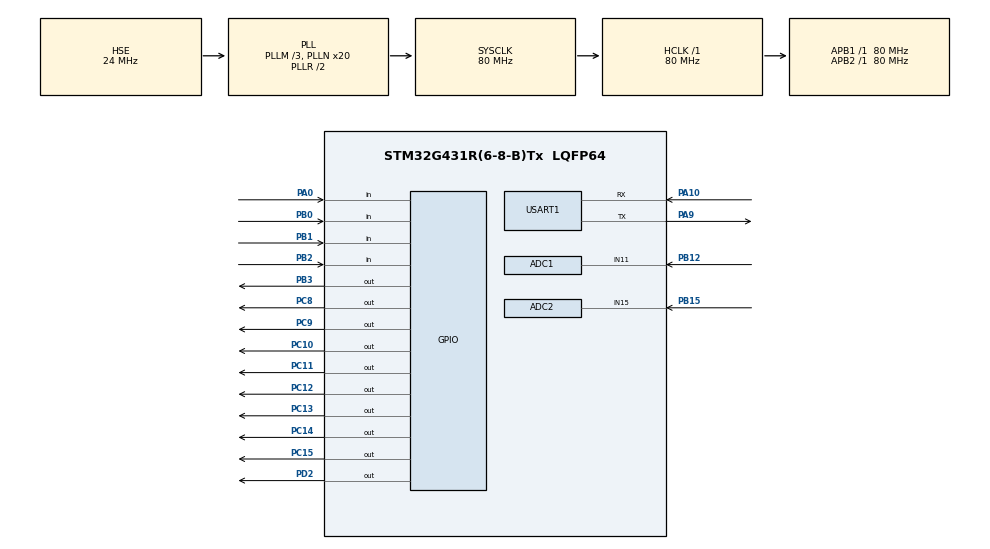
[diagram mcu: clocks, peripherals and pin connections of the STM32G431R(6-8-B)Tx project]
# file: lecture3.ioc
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ADC1.Channel-0\#ChannelRegularConversion=ADC_CHANNEL_11
ADC1.NbrOfConversionFlag=1
ADC1.OffsetNumber-0\#ChannelRegularConversion=ADC_OFFSET_NONE
ADC1.Rank-0\#ChannelRegularConversion=1
ADC1.SamplingTime-0\#ChannelRegularConversion=ADC_SAMPLETIME_640CYCLES_5
ADC1.master=1
ADC2.Channel-0\#ChannelRegularConversion=ADC_CHANNEL_15
ADC2.NbrOfConversionFlag=1
ADC2.OffsetNumber-0\#ChannelRegularConversion=ADC_OFFSET_NONE
ADC2.Rank-0\#ChannelRegularConversion=1
ADC2.SamplingTime-0\#ChannelRegularConversion=ADC_SAMPLETIME_640CYCLES_5
Mcu.Family=STM32G4
Mcu.Name=STM32G431R(6-8-B)Tx
Mcu.Package=LQFP64
NVIC.PriorityGroup=NVIC_PRIORITYGROUP_4
NVIC.TIM6_DAC_IRQn=true\:0\:0\:false\:false\:true\:false\:true\:true\:true
NVIC.USART1_IRQn=true\:0\:0\:false\:false\:true\:false\:true\:true\:true
PA0.Signal=GPIO_Input
PA10.Mode=Asynchronous
PA10.Signal=USART1_RX
PA13.Mode=Serial_Wire
PA13.Signal=SYS_JTMS-SWDIO
PA14.Mode=Serial_Wire
PA14.Signal=SYS_JTCK-SWCLK
PA9.Mode=Asynchronous
PA9.Signal=USART1_TX
PB0.Signal=GPIO_Input
PB1.Signal=GPIO_Input
PB12.Mode=IN11-Single-Ended
PB12.Signal=ADC1_IN11
PB15.Mode=IN15-Single-Ended
PB15.Signal=ADC2_IN15
PB2.Signal=GPIO_Input
PB3.Signal=GPIO_Output
PC10.Signal=GPIO_Output
PC11.Signal=GPIO_Output
PC12.Signal=GPIO_Output
PC13.Signal=GPIO_Output
PC14-OSC32_IN.Signal=GPIO_Output
PC15-OSC32_OUT.Signal=GPIO_Output
PC8.Signal=GPIO_Output
PC9.Signal=GPIO_Output
PD2.Signal=GPIO_Output
PF0-OSC_IN.Mode=HSE-External-Oscillator
PF0-OSC_IN.Signal=RCC_OSC_IN
PF1-OSC_OUT.Mode=HSE-External-Oscillator
PF1-OSC_OUT.Signal=RCC_OSC_OUT
ProjectManager.HeapSize=0x200
ProjectManager.StackSize=0x400
ProjectManager.TargetToolchain=MDK-ARM V5.32
RCC.ADC12Freq_Value=80000000
RCC.AHBFreq_Value=80000000
RCC.APB1Freq_Value=80000000
RCC.APB1TimFreq_Value=80000000
RCC.APB2Freq_Value=80000000
RCC.APB2TimFreq_Value=80000000
RCC.CortexFreq_Value=80000000
RCC.EXTERNAL_CLOCK_VALUE=12288000
RCC.HCLKFreq_Value=80000000
RCC.HSE_VALUE=24000000
RCC.HSI48_VALUE=48000000
RCC.HSI_VALUE=16000000
RCC.LSE_VALUE=32768
RCC.PLLM=RCC_PLLM_DIV3
RCC.PLLN=20
RCC.PLLSourceVirtual=RCC_PLLSOURCE_HSE
RCC.SYSCLKFreq_VALUE=80000000
RCC.SYSCLKSource=RCC_SYSCLKSOURCE_PLLCLK
RCC.USBFreq_Value=80000000
RCC.VCOOutputFreq_Value=160000000
RealThread.RT-Thread.3.1.5.RTOSJjkernel=true
RealThread.RT-Thread.3.1.5.RTOSJjshell=true
TIM6.PeriodNoDither=9999
TIM6.Prescaler=79
USART1.VirtualMode-Asynchronous=VM_ASYNC
VP_RealThread.RT-Thread_VS_RTOSJjkernel_3.1.5_3.1.5.Mode=RTOSJjkernel
VP_RealThread.RT-Thread_VS_RTOSJjshell_3.1.5_3.1.5.Mode=RTOSJjshell
VP_SYS_VS_DBSignals.Mode=DisableDeadBatterySignals
VP_TIM6_VS_ClockSourceINT.Mode=Enable_Timer
board=custom

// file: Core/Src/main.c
/* USER CODE BEGIN Header */
/**
  ******************************************************************************
  * @file           : main.c
  * @brief          : Main program body
  ******************************************************************************
  * @attention
  *
  * Copyright (c) 2023 STMicroelectronics.
  * All rights reserved.
  *
  * This software is licensed under terms that can be found in the LICENSE file
  * in the root directory of this software component.
  * If no LICENSE file comes with this software, it is provided AS-IS.
  *
  ******************************************************************************
  */
/* USER CODE END Header */
#include "main.h"
#include "adc.h"
#include "tim.h"
#include "usart.h"
#include "gpio.h"

/* USER CODE BEGIN Includes */
#include "rtthread.h"
#include "lcd.h"
#include "stdio.h"
/* USER CODE END Includes */

/* USER CODE BEGIN PTD */
typedef enum
{
	key_chack,
	key_prerss,
	key_release,
	key_over
}key_start;
key_start keystart = key_chack;
uint8_t key_value;
uint32_t key_press_time = 20;

/* USER CODE END PTD */

/* USER CODE BEGIN PD */
#define B1 HAL_GPIO_ReadPin(GPIOB, GPIO_PIN_0)
#define B2 HAL_GPIO_ReadPin(GPIOB, GPIO_PIN_1)
#define B3 HAL_GPIO_ReadPin(GPIOB, GPIO_PIN_2)
#define B4 HAL_GPIO_ReadPin(GPIOA, GPIO_PIN_0)

#define BUZZ_ON   HAL_GPIO_WritePin(GPIOB, GPIO_PIN_3, GPIO_PIN_RESET)
#define BUZZ_OFF  HAL_GPIO_WritePin(GPIOB, GPIO_PIN_3, GPIO_PIN_SET)

#define key1_event (0x01 << 1)
#define key2_event (0x01 << 2)
#define key3_event (0x01 << 3)
#define key4_event (0x01 << 4)
#define key5_event (0x01 << 5)
#define key6_event (0x01 << 6)
#define key7_event (0x01 << 7)
#define key8_event (0x01 << 8)
#define key9_event (0x01 << 9)

/* USER CODE END PD */

void SystemClock_Config(void);
/* USER CODE BEGIN PFP */

/* 定义全局变量 */
uint16_t LED_ALL = 0XFFFF;
uint8_t show;
extern uint16_t R37_Vol,R38_Vol;

/* 定义线程控制块 */
static rt_thread_t key_thread = RT_NULL;          //按键扫描
static void key_thread_entry(void *parameter);

static rt_thread_t KeyScan_thread = RT_NULL;      //按键获取
static void KeyScan_thread_entry(void *parameter);

static rt_thread_t send_thread = RT_NULL;         //消息发送
static void send_thread_entry(void* parameter);

static rt_thread_t LED_thread = RT_NULL;          //LED闪烁
static void LED_thread_entry(void* parameter);

/* 定义软件定时器控制块 */
static rt_timer_t swtmr_adc = RT_NULL;            //软件定时器
static void swtmr_adc_callback(void *parameter);

/* 定义消息队列控制块 */
static rt_mq_t adc_mq = RT_NULL;

/* 定义互斥量控制块 */
static rt_mutex_t test_mutex = RT_NULL;

/* 定义事件控制块 */
static rt_event_t key_event = RT_NULL;

/* USER CODE END PFP */

int main(void)
{

  /* MCU Configuration--------------------------------------------------------*/

  /* Reset of all peripherals, Initializes the Flash interface and the Systick. */
  HAL_Init();

  /* Configure the system clock */
  SystemClock_Config();

  /* Initialize all configured peripherals */
  MX_GPIO_Init();
  MX_TIM6_Init();
  MX_USART1_UART_Init();
  MX_ADC1_Init();
  MX_ADC2_Init();

	LED_Close();
  /* USER CODE BEGIN 2 */

  adc_mq = rt_mq_create("adc_mq",40,20,RT_IPC_FLAG_FIFO);       //消息队列

	key_event = rt_event_create("key_event", RT_IPC_FLAG_FIFO);   //事件
	rt_event_send(key_event, key2_event);

	test_mutex = rt_mutex_create("test_mutex",RT_IPC_FLAG_FIFO);  //互斥量

	KeyScan_thread =  rt_thread_create( "KeyScan_thread",KeyScan_thread_entry,RT_NULL,256,3,20);
	rt_thread_startup(KeyScan_thread);

	key_thread =  rt_thread_create( "key_thread",key_thread_entry,RT_NULL,256,3,20);
	rt_thread_startup(key_thread);

  send_thread = rt_thread_create( "send",send_thread_entry,RT_NULL,256,3,20);
	rt_thread_startup(send_thread);

	swtmr_adc = rt_timer_create("swtmr_adc_callback",swtmr_adc_callback,0,1000,RT_TIMER_FLAG_PERIODIC|RT_TIMER_FLAG_SOFT_TIMER);
	rt_timer_start(swtmr_adc);

	LED_thread = rt_thread_create( "KeyScan_thread",LED_thread_entry,RT_NULL,256,3,20);
	rt_thread_startup(LED_thread);
}

void SystemClock_Config(void)
{
  RCC_OscInitTypeDef RCC_OscInitStruct = {0};
  RCC_ClkInitTypeDef RCC_ClkInitStruct = {0};

  /** Configure the main internal regulator output voltage
  */
  HAL_PWREx_ControlVoltageScaling(PWR_REGULATOR_VOLTAGE_SCALE1);

  /** Initializes the RCC Oscillators according to the specified parameters
  * in the RCC_OscInitTypeDef structure.
  */
  RCC_OscInitStruct.OscillatorType = RCC_OSCILLATORTYPE_HSE;
  RCC_OscInitStruct.HSEState = RCC_HSE_ON;
  RCC_OscInitStruct.PLL.PLLState = RCC_PLL_ON;
  RCC_OscInitStruct.PLL.PLLSource = RCC_PLLSOURCE_HSE;
  RCC_OscInitStruct.PLL.PLLM = RCC_PLLM_DIV3;
  RCC_OscInitStruct.PLL.PLLN = 20;
  RCC_OscInitStruct.PLL.PLLP = RCC_PLLP_DIV2;
  RCC_OscInitStruct.PLL.PLLQ = RCC_PLLQ_DIV2;
  RCC_OscInitStruct.PLL.PLLR = RCC_PLLR_DIV2;
  if (HAL_RCC_OscConfig(&RCC_OscInitStruct) != HAL_OK)
  {
    Error_Handler();
  }

  /** Initializes the CPU, AHB and APB buses clocks
  */
  RCC_ClkInitStruct.ClockType = RCC_CLOCKTYPE_HCLK|RCC_CLOCKTYPE_SYSCLK
                              |RCC_CLOCKTYPE_PCLK1|RCC_CLOCKTYPE_PCLK2;
  RCC_ClkInitStruct.SYSCLKSource = RCC_SYSCLKSOURCE_PLLCLK;
  RCC_ClkInitStruct.AHBCLKDivider = RCC_SYSCLK_DIV1;
  RCC_ClkInitStruct.APB1CLKDivider = RCC_HCLK_DIV1;
  RCC_ClkInitStruct.APB2CLKDivider = RCC_HCLK_DIV1;

  if (HAL_RCC_ClockConfig(&RCC_ClkInitStruct, FLASH_LATENCY_2) != HAL_OK)
  {
    Error_Handler();
  }
}

/* USER CODE BEGIN 4 */
void LED_Close(void)
{
	HAL_GPIO_WritePin(GPIOC,GPIO_PIN_8|GPIO_PIN_9|GPIO_PIN_10|GPIO_PIN_11|GPIO_PIN_12|GPIO_PIN_13
	                        |GPIO_PIN_14|GPIO_PIN_15,GPIO_PIN_SET);
	HAL_GPIO_WritePin(GPIOD,GPIO_PIN_2,GPIO_PIN_SET);
	HAL_GPIO_WritePin(GPIOD,GPIO_PIN_2,GPIO_PIN_RESET);
}

void LED_ON(uint8_t n)
{
	LED_ALL &= ((0XFEFF << (n - 1)) | (0XFEFF >> (16 - n + 1)));
	GPIOC->ODR = LED_ALL;
	HAL_GPIO_WritePin(GPIOD,GPIO_PIN_2,GPIO_PIN_SET);
	HAL_GPIO_WritePin(GPIOD,GPIO_PIN_2,GPIO_PIN_RESET);
}

void LED_OFF(uint8_t n)
{
	LED_ALL |= ((0X0100 << (n - 1)) | (0X0100 >> (16 - n + 1)));
	GPIOC->ODR = LED_ALL;
	HAL_GPIO_WritePin(GPIOD,GPIO_PIN_2,GPIO_PIN_SET);
	HAL_GPIO_WritePin(GPIOD,GPIO_PIN_2,GPIO_PIN_RESET);
}

static void KeyScan_thread_entry(void *parameter)
{
	while(1)
	{
		switch(keystart)
		{
			case key_chack :
			{
				if(B1 == 0 | B2 == 0 | B3 == 0 |B4 == 0)
				{
					keystart = key_prerss ;
				}
			}break;
			case key_prerss :
			{
				if(B1 == 0)rt_event_send(key_event, key1_event);
				else if(B2 == 0)rt_event_send(key_event, key2_event);
				else if(B3 == 0)rt_event_send(key_event, key3_event);
				else if(B4 == 0)rt_event_send(key_event, key4_event);
				keystart = key_release ;
			}break;
			case key_release :
			{
				if(B1 == 0 | B2 == 0 | B3 == 0 |B4 == 0)
				{
					key_press_time = key_press_time + 10;
				}
				else
				{
					keystart = key_chack;
				}
			}break;
			default : break;
		}
		rt_thread_delay(10);
	}
}

static void key_thread_entry(void *parameter)
{
	rt_uint32_t recved;

	while(1)
	{
		rt_event_recv(key_event, key1_event|key2_event|key3_event|key4_event,
						RT_EVENT_FLAG_OR|RT_EVENT_FLAG_CLEAR, RT_WAITING_FOREVER, &recved);

		if(recved == key1_event)
		{

		}
		else if(recved == key2_event)
		{
      rt_mutex_take(test_mutex,10);
			if(test_mutex->hold < 255)
			{
				if(test_mutex->hold % 2 == 0)
				{
					rt_kprintf("界面1：电压\n");
          show = 0;
				}
				else
				{
					rt_kprintf("界面2：阈值\n");
					show = 1;
				}
			}
		}
		else if(recved == key3_event)
		{
      BUZZ_ON;
		}
		else if(recved == key4_event)
		{
      BUZZ_OFF;
		}
		rt_thread_delay(10);
	}
}

static void swtmr_adc_callback(void* parameter)
{
	uint16_t r37_queue;
	uint16_t r38_queue;

	rt_mq_recv(adc_mq, &r37_queue, sizeof(r37_queue), 0);
	rt_mq_recv(adc_mq, &r38_queue, sizeof(r38_queue), 0);

  if(show == 0)
	{
		rt_kprintf("r37: %d\n", r37_queue);
		if (r37_queue < 1500)
		{
			rt_kprintf("level 1\n");
			rt_event_send(key_event, key5_event);
		}
		else if(r37_queue > 1500 && r37_queue < 2500)
		{
			rt_kprintf("level 2\n");
			rt_event_send(key_event, key6_event);
		}
		else
		{
			rt_kprintf("level 3\n");
			rt_event_send(key_event, key7_event);
		}
	}
	else if(show == 1)
	{
		rt_kprintf("level 1: %d\n",1500);
		rt_kprintf("level 3: %d\n",2500);
	}
}

static void send_thread_entry(void *parameter)
{
	uint16_t R37_data;
	uint16_t R38_data;
	while(1)
	{
		ADC_Get();
		R37_data = R37_Vol;
		R38_data = R38_Vol;

		rt_mq_send(adc_mq, &R37_data, sizeof(R37_data));
		rt_mq_send(adc_mq, &R38_data, sizeof(R38_data));

		rt_thread_delay(1000);
	}
}

static void LED_thread_entry(void* parameter)
{
	rt_uint32_t LED_Run;
	while(1)
	{
		rt_event_recv(key_event, key5_event|key6_event|key7_event,
						RT_EVENT_FLAG_OR|RT_EVENT_FLAG_CLEAR, RT_WAITING_FOREVER, &LED_Run);

		if(LED_Run == key5_event)
		{
      LED_ON(2);
			rt_thread_delay(100);
			LED_OFF(2);
			rt_thread_delay(100);
		}
		else if(LED_Run == key6_event)
		{
      LED_Close();
		}
		else if(LED_Run == key7_event)
		{
      LED_ON(3);
			rt_thread_delay(100);
			LED_OFF(3);
			rt_thread_delay(100);
		}
    rt_thread_delay(10);
	}
}

/* USER CODE END 4 */

void Error_Handler(void)
{
  __disable_irq();
  while (1)
  {
  }
}
